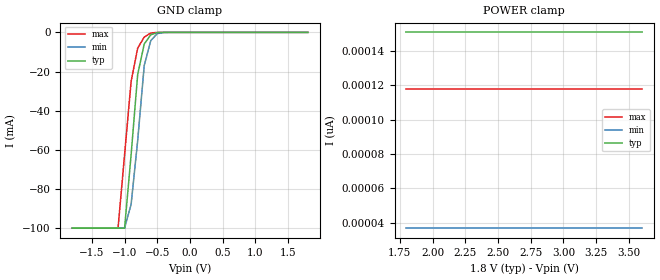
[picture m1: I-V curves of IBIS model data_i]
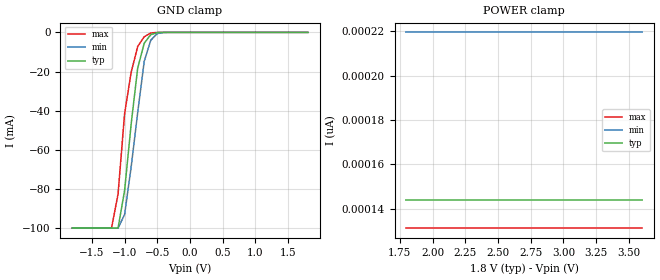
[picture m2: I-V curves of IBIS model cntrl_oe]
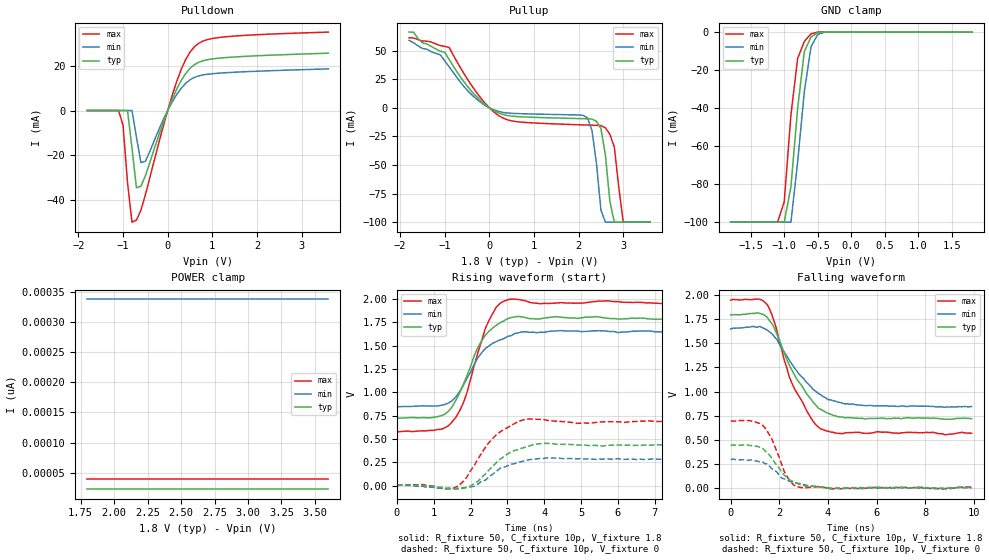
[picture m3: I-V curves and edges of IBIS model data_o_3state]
|   ON Semiconductor Corporation
|   IBIS Model of NL17SZ126DF
|   Non-inverting 3-state Buffer
|   SC-88A/ SOT-353/ SC-70 (DF) Package Type
[IBIS Ver]   3.2
[Comment Char]   |_char
[File name]   nl17sz126df_165.ibs
[File Rev]   1.0
[Date]   02/02/03
[Source]
From lab measurements at ON Semiconductor
[Notes]
Created by Duane Mattheisen
Modeling Support Engineer
| This model represents the NL17SZ126DF where 1.65 <= Vcc =< 1.95
[Disclaimer]
ON Semiconductor Corporation hereby grants
the user of this IBIS model a license to use this IBIS
model under the following terms. This license in non-exclusive
and non-transferable. Before using this IBIS model. After reading
the terms and conditions of this license, the user either must accept
these terms, or the IBIS model should be returned to ON within 30 days.
     The user is hereby granted a license to use the
IBIS model. This shall not be construed as a right to sell, or otherwise
profit either by leasing or renting this software.
     The user may modify the IBIS model to suit his specific applications
but rights to derivative works and such modifications shall belong to
ON Semiconductor.
     This IBIS model is provided on an "as is" basis. ON Semiconductor
makes absolutely no warranty with respect to the information contained
herein. By use of this IBIS model, the user assumes full risk as to the
quality and suitablility of the model to his particular use, and by using
this model assumes the entire risk. Under all circumstances the user shall
not hold ON Semiconductor liable in any way for the results obtained. ON
Semiconductor reserves the right to make to improve the model for reliability,
function, or design. ON Semiconductor does not convey any license under patent
rights or any other intellectual property rights, including those of third
parties.
ON Semiconductor is not obligated to provide maintenance or support
for the licensed IBIS model.
Cont ON at ATTN:LOGIC APPLICATIONS/IBIS MODEL.
5005 E. McDowell Road, Phoenix AZ 85008
[Copyright]
(c) 2002 ON Semiconductor Corp.
[Component]   NL17SZ126DF
Si_location Pin
Timing_location Pin
[Manufacturer]   ON Semiconductor Corp.
[Package]
|   typ   min   max
R_pkg   0.025   0.021   0.029
L_pkg   1.529nH   1.312nH   1.906nH
C_pkg   0.156pF   0.110pF   0.240pF
[Pin] signal_name   model_name   R_pin   L_pin   C_pin
1   OE   cntrl_oe   0.021   1.511nH   0.144pF
2   INA   data_i   0.023   1.312nH   0.138pF
3   GND   GND   0.029   1.906nH   0.240pF
4   OUTY   data_o_3state   0.026   1.541nH   0.150pF
5   VCC   POWER   0.025   1.374nH   0.110pF
| Models and submodels in the file (3): data_i (Input), cntrl_oe (Input), data_o_3state (3-state)
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[Model]   data_i
Model_type Input
Vinh=1.35
Vinl=.45
| variable   typ   min   max
C_comp   1.9pf   1.9pf   1.9pf
[Temperature Range] 25   85   -40
[Voltage Range]   1.80   1.65   1.95
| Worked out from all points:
|   GND clamp passes 1 mA (typ) near -0.58 V on its own axis
[GND Clamp]
-1.8V     -100mA     -100mA     -100mA
-1.1V     -100mA     -100mA     -100mA
-1V       -100mA     -100mA     -62.49mA
-900mV    -62.41mA   -87.8mA    -25.03mA
-800mV    -21.53mA   -55.28mA   -8.039mA
-700mV    -5.965mA   -16.92mA   -2.42mA
-600mV    -1.223mA   -4.225mA   -337.9uA
-500mV    -121uA     -625.1uA   -7.773uA
-300mV    -92.78nA   -2.09uA    -858.5pA
1.8V      150.7pA    36.77pA    118pA
[POWER Clamp]
1.8V      150.7pA    36.77pA    118pA
1.9V      150.7pA    36.77pA    118pA
2V        150.7pA    36.77pA    118pA
3.6V      150.7pA    36.77pA    118pA
[Model]   cntrl_oe
Model_type Input
Vinh=1.35
Vinl=.45
| variable   typ   min   max
C_comp   1.9pf   1.9pf   1.9pf
[Temperature Range] 25   85   -40
[Voltage Range] 1.80   1.65   1.95
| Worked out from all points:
|   GND clamp passes 1 mA (typ) near -0.58 V on its own axis
[GND Clamp]
-1.8V     -100mA     -100mA     -100mA
-1.2V     -100mA     -100mA     -100mA
-1.1V     -100mA     -100mA     -82.7mA
-1V       -80.83mA   -93.11mA   -41.62mA
-900mV    -46.96mA   -68.86mA   -20.45mA
-800mV    -18.29mA   -41.04mA   -7.23mA
-700mV    -5.56mA    -14.79mA   -2.259mA
-600mV    -1.179mA   -4.019mA   -325.8uA
-500mV    -119.9uA   -613.3uA   -7.69uA
-300mV    -95.93nA   -2.09uA    -566.1pA
1.8V      80.6pA     200pA      19.51pA
[POWER Clamp]
1.8V      143.9pA    219.5pA    131.3pA
1.9V      143.9pA    219.5pA    131.3pA
2V        143.9pA    219.5pA    131.3pA
3.6V      143.9pA    219.5pA    131.3pA
[Model]   data_o_3state
Model_type 3-state
Enable Active-High
Polarity Non-Inverting
Vref=0
Vmeas=0.90
Rref=500
Cref=50p
| variable   typ   min   max
C_comp   4.1pf   3.075pf   5.125pf
[Temperature Range] 25   85   -40
[Voltage Range]  1.80   1.65   1.95
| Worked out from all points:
|   slope of the pulldown table from 0 to 0.27 V, typ, clamps not added: 22.2 ohm
|   slope of the pullup table from 0 to 0.27 V, typ, clamps not added: 50.2 ohm
|   GND clamp passes 1 mA (typ) near -0.53 V on its own axis
|   falling waveform, R_fixture 50, C_fixture 10p, V_fixture 1.8: 20-80 % time 1.33ns typ, 1.47ns min, 1.19ns max; typ from 1.8 V to 0.718 V
|   falling waveform, R_fixture 50, C_fixture 10p, V_fixture 0: 20-80 % time 841ps typ, 999ps min, 680ps max; typ from 0.44 V to 0.008 V
|   rising waveform, R_fixture 50, C_fixture 10p, V_fixture 1.8: 20-80 % time 719ps typ, 778ps min, 633ps max; typ from 0.724 V to 1.8 V
|   rising waveform, R_fixture 50, C_fixture 10p, V_fixture 0: 20-80 % time 759ps typ, 720ps min, 746ps max; typ from 0 V to 0.439 V
[Pullup]
-1.8V     66.19mA    59.03mA    61.15mA
-900mV    42.19mA    35.8mA     52.79mA
-300mV    10.28mA    8.047mA    14.11mA
200mV     -4.385mA   -3.089mA   -6.575mA
2.2V      -9.59mA    -8.8mA     -15.07mA
2.3V      -9.887mA   -19.79mA   -15.19mA
2.5V      -17.97mA   -89.42mA   -15.56mA
2.6V      -41.33mA   -99.99mA   -17.49mA
2.7V      -81.65mA   -99.99mA   -23.09mA
2.8V      -99.99mA   -99.99mA   -34.4mA
3V        -99.99mA   -99.99mA   -99.99mA
3.6V      -99.99mA   -99.99mA   -99.99mA
[Pulldown]
-1.8V     0A         998.4nA    998.4nA
-1.1V     0A         998.4nA    998.4nA
-1V       0A         0A         -6.606mA
-900mV    0A         0A         -32.07mA
-800mV    -16.64mA   0A         -49.73mA
-700mV    -34.38mA   -11.75mA   -48.79mA
-600mV    -33.73mA   -23.18mA   -44.47mA
-500mV    -29.16mA   -22.62mA   -37.59mA
200mV     9.425mA    7.056mA    12.8mA
600mV     20.44mA    14.74mA    28.4mA
1.2V      23.39mA    16.7mA     32.61mA
3.6V      25.53mA    18.54mA    34.91mA
[GND Clamp]
-1.8V     -100mA     -100mA     -100mA
-1.1V     -100mA     -100mA     -100mA
-1V       -100mA     -100mA     -89.3mA
-900mV    -81.42mA   -100mA     -43.65mA
-800mV    -40.35mA   -68.54mA   -13.85mA
-700mV    -10.23mA   -31.39mA   -4.962mA
-600mV    -2.562mA   -7.756mA   -907.7uA
-500mV    -319.4uA   -1.232mA   -30.47uA
-400mV    -12.36uA   -107.9uA   -329nA
1.8V      90.61pA    214pA      97.86pA
[POWER Clamp]
1.8V      22.76pA    337.8pA    39.19pA
1.9V      22.76pA    337.8pA    39.19pA
2V        22.76pA    337.8pA    39.19pA
3.6V      22.76pA    337.8pA    39.19pA
[Ramp]
dV/dt_r   0.27E+0/0.820E-9   0.173E+0/0.878E-9   0.403E+0/0.798E-9
dV/dt_f   0.658E+0/1.36E-9   0.501E+0/1.560E-9   0.816E+0/1.20E-9
[Falling Waveform]
R_fixture=50
C_fixture=10p
V_fixture=1.8
V_fixture_min=1.65
V_fixture_max=1.95
|Time   Typ   Min   Max
|SECONDS   VOLTS   VOLTS   VOLTS
0s        1.796V     1.65V      1.948V
1.2ns     1.81V      1.676V     1.957V
1.5ns     1.771V     1.638V     1.902V
1.8ns     1.654V     1.567V     1.717V
2.2ns     1.403V     1.41V      1.327V
2.5ns     1.229V     1.29V      1.096V
3.3ns     921.1mV    1.049V     725.6mV
3.7ns     814.9mV    966.9mV    612.4mV
5.2ns     722.5mV    859.8mV    576mV
9.9ns     717.9mV    844.6mV    566.8mV
[Falling Waveform]
R_fixture=50
C_fixture=10p
V_fixture=0
|Time   Typ   Min   Max
|SECONDS   VOLTS   VOLTS   VOLTS
0s        439.8mV    292.7mV    693.4mV
800ps     439.6mV    289.6mV    696.3mV
1.3ns     411.3mV    272.7mV    653.4mV
1.7ns     303.5mV    197.3mV    503.2mV
2.2ns     132mV      93.05mV    169.7mV
2.4ns     85.89mV    69.03mV    80.79mV
2.7ns     48.21mV    50.64mV    12.87mV
3.1ns     15.22mV    27.58mV    984.8uV
4.1ns     -1.603mV   -8.151mV   -8.799mV
9.9ns     7.858mV    1.041mV    8.666mV
[Rising Waveform]
R_fixture=50
C_fixture=10p
V_fixture=1.8
V_fixture_min=1.65
V_fixture_max=1.95
|Time   Typ   Min   Max
|SECONDS   VOLTS   VOLTS   VOLTS
0s        724.1mV    844.6mV    574.4mV
1.1ns     738.1mV    853.4mV    601.4mV
1.5ns     845.9mV    909.9mV    683.7mV
1.8ns     1.083V     1.075V     882.6mV
2.2ns     1.484V     1.37V      1.428V
2.4ns     1.612V     1.469V     1.685V
2.7ns     1.719V     1.544V     1.914V
3ns       1.788V     1.599V     1.991V
4.4ns     1.809V     1.661V     1.96V
9.9ns     1.796V     1.653V     1.95V
[Rising Waveform]
R_fixture=50
C_fixture=10p
V_fixture=0
|Time   Typ   Min   Max
|SECONDS   VOLTS   VOLTS   VOLTS
0s        445.7uV    5.063mV    607.1uV
1.6ns     -38.58mV   -33.35mV   -16.32mV
2ns       -5.462mV   -12.44mV   159.4mV
2.4ns     123.1mV    57.65mV    408.9mV
2.7ns     246.5mV    151.7mV    545.2mV
3ns       338.6mV    210.9mV    620.2mV
3.5ns     412.6mV    271.7mV    711.2mV
4ns       453mV      291mV      705.9mV
4.9ns     433.6mV    287.1mV    667.5mV
9.9ns     439.3mV    287.5mV    686.5mV
